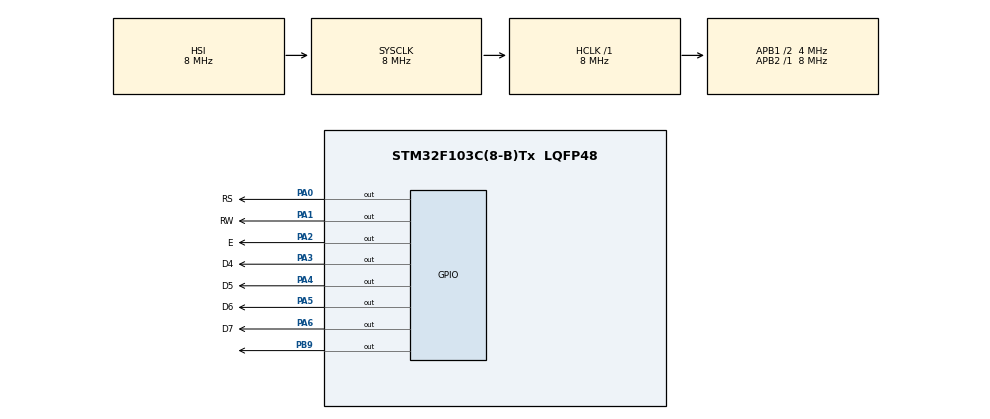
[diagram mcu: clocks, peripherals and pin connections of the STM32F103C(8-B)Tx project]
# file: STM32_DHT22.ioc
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Mcu.Family=STM32F1
Mcu.Name=STM32F103C(8-B)Tx
Mcu.Package=LQFP48
NVIC.PriorityGroup=NVIC_PRIORITYGROUP_4
PA0-WKUP.GPIO_Label=RS
PA0-WKUP.Signal=GPIO_Output
PA1.GPIO_Label=RW
PA1.Signal=GPIO_Output
PA13.Mode=Serial_Wire
PA13.Signal=SYS_JTMS-SWDIO
PA14.Mode=Serial_Wire
PA14.Signal=SYS_JTCK-SWCLK
PA2.GPIO_Label=E
PA2.Signal=GPIO_Output
PA3.GPIO_Label=D4
PA3.Signal=GPIO_Output
PA4.GPIO_Label=D5
PA4.Signal=GPIO_Output
PA5.GPIO_Label=D6
PA5.Signal=GPIO_Output
PA6.GPIO_Label=D7
PA6.Signal=GPIO_Output
PB9.Signal=GPIO_Output
ProjectManager.HeapSize=0x200
ProjectManager.StackSize=0x400
ProjectManager.TargetToolchain=STM32CubeIDE
RCC.AHBFreq_Value=8000000
RCC.APB1CLKDivider=RCC_HCLK_DIV2
RCC.APB1Freq_Value=4000000
RCC.APB1TimFreq_Value=8000000
RCC.APB2Freq_Value=8000000
RCC.APB2TimFreq_Value=8000000
RCC.HCLKFreq_Value=8000000
RCC.SYSCLKFreq_VALUE=8000000
RCC.USBFreq_Value=8000000
board=custom

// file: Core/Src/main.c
/* USER CODE BEGIN Header */
/* USER CODE END Header */
#include "main.h"

/* USER CODE BEGIN Includes */
#include "MY_DHT22.h"
#include "lcd.h"
/* USER CODE END Includes */

void SystemClock_Config(void);
static void MX_GPIO_Init(void);

/* USER CODE BEGIN 0 */
float TempC, Humidity;
char uartData[50];
/* USER CODE END 0 */

int main(void)
{

  /* MCU Configuration--------------------------------------------------------*/

  /* Reset of all peripherals, Initializes the Flash interface and the Systick. */
  HAL_Init();

  /* Configure the system clock */
  SystemClock_Config();

  /* Initialize all configured peripherals */
  MX_GPIO_Init();
  /* USER CODE BEGIN 2 */
  DHT22_Init(GPIOB, GPIO_PIN_9);

  // create array of ports
  Lcd_PortType ports[] = {GPIOA, GPIOA, GPIOA, GPIOA};

  // create array of pins
  Lcd_PinType pins[] = {GPIO_PIN_3, GPIO_PIN_4, GPIO_PIN_5, GPIO_PIN_6};

  // create a LCD with above ports and pins + RS + E
  Lcd_HandleTypeDef lcd = Lcd_create(ports, pins, GPIOA, GPIO_PIN_0, GPIOA, GPIO_PIN_2, LCD_4_BIT_MODE);

  // initialize lcd
  Lcd_init(&lcd);

  // set cursor to start writing from that point
  Lcd_cursor(&lcd, 0, 0);
  // write into LCD starting from cursor position
  Lcd_string(&lcd, "Hossein");
  HAL_Delay(1000);
  /* USER CODE END 2 */

  /* Infinite loop */
  while (1)
  {

    /* USER CODE BEGIN 3 */
	  if(DHT22_GetTemp_Humidity(&TempC, &Humidity) == 1)
	{
		  // set cursor to start writing from that point
		  Lcd_cursor(&lcd, 0, 0);
		  // write into LCD starting from cursor position
		  Lcd_int(&lcd, (int)TempC);

		  // set cursor to start writing from that point
		  Lcd_cursor(&lcd, 1, 0);
		  // write into LCD starting from cursor position
		  Lcd_int(&lcd, (int)Humidity);
 	}
	else
	{
		  // set cursor to start writing from that point
		  Lcd_cursor(&lcd, 1, 0);
		  // write into LCD starting from cursor position
		  Lcd_string(&lcd, "Error");
 	}

	  HAL_Delay(1000);

    }
  /* USER CODE END 3 */
}

void SystemClock_Config(void)
{
  RCC_OscInitTypeDef RCC_OscInitStruct = {0};
  RCC_ClkInitTypeDef RCC_ClkInitStruct = {0};

  /** Initializes the RCC Oscillators according to the specified parameters
  * in the RCC_OscInitTypeDef structure.
  */
  RCC_OscInitStruct.OscillatorType = RCC_OSCILLATORTYPE_HSI;
  RCC_OscInitStruct.HSIState = RCC_HSI_ON;
  RCC_OscInitStruct.HSICalibrationValue = RCC_HSICALIBRATION_DEFAULT;
  RCC_OscInitStruct.PLL.PLLState = RCC_PLL_NONE;
  if (HAL_RCC_OscConfig(&RCC_OscInitStruct) != HAL_OK)
  {
    Error_Handler();
  }

  /** Initializes the CPU, AHB and APB buses clocks
  */
  RCC_ClkInitStruct.ClockType = RCC_CLOCKTYPE_HCLK|RCC_CLOCKTYPE_SYSCLK
                              |RCC_CLOCKTYPE_PCLK1|RCC_CLOCKTYPE_PCLK2;
  RCC_ClkInitStruct.SYSCLKSource = RCC_SYSCLKSOURCE_HSI;
  RCC_ClkInitStruct.AHBCLKDivider = RCC_SYSCLK_DIV1;
  RCC_ClkInitStruct.APB1CLKDivider = RCC_HCLK_DIV2;
  RCC_ClkInitStruct.APB2CLKDivider = RCC_HCLK_DIV1;

  if (HAL_RCC_ClockConfig(&RCC_ClkInitStruct, FLASH_LATENCY_0) != HAL_OK)
  {
    Error_Handler();
  }
}

static void MX_GPIO_Init(void)
{
  GPIO_InitTypeDef GPIO_InitStruct = {0};

  /* GPIO Ports Clock Enable */
  __HAL_RCC_GPIOA_CLK_ENABLE();
  __HAL_RCC_GPIOB_CLK_ENABLE();

  /*Configure GPIO pin Output Level */
  HAL_GPIO_WritePin(GPIOA, RS_Pin|RW_Pin|E_Pin|D4_Pin
                          |D5_Pin|D6_Pin|D7_Pin, GPIO_PIN_RESET);

  /*Configure GPIO pin Output Level */
  HAL_GPIO_WritePin(GPIOB, GPIO_PIN_9, GPIO_PIN_RESET);

  /*Configure GPIO pins : RS_Pin RW_Pin E_Pin D4_Pin
                           D5_Pin D6_Pin D7_Pin */
  GPIO_InitStruct.Pin = RS_Pin|RW_Pin|E_Pin|D4_Pin
                          |D5_Pin|D6_Pin|D7_Pin;
  GPIO_InitStruct.Mode = GPIO_MODE_OUTPUT_PP;
  GPIO_InitStruct.Pull = GPIO_NOPULL;
  GPIO_InitStruct.Speed = GPIO_SPEED_FREQ_LOW;
  HAL_GPIO_Init(GPIOA, &GPIO_InitStruct);

  /*Configure GPIO pin : PB9 */
  GPIO_InitStruct.Pin = GPIO_PIN_9;
  GPIO_InitStruct.Mode = GPIO_MODE_OUTPUT_PP;
  GPIO_InitStruct.Pull = GPIO_NOPULL;
  GPIO_InitStruct.Speed = GPIO_SPEED_FREQ_LOW;
  HAL_GPIO_Init(GPIOB, &GPIO_InitStruct);

}

void Error_Handler(void)
{
}
